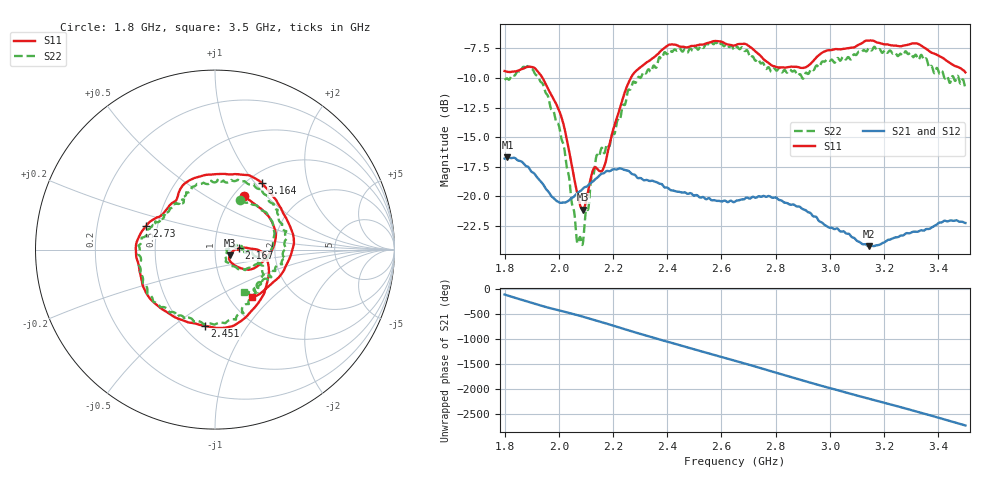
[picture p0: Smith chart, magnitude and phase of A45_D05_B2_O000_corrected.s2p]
! Created with skrf 1.9.0 (http://scikit-rf.org).
# Hz S RI R 50.0
!freq ReS11 ImS11 ReS21 ImS21 ReS12 ImS12 ReS22 ImS22
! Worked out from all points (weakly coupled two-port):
!   1601 points, 1.8 GHz to 3.5 GHz, reference 50 ohm
!   highest |S21| = -16.71 dB at 1.811 GHz (marker M1); lowest = -24.2 dB at 3.143 GHz (marker M2)
!   lowest |S11| = -21.1 dB at 2.089 GHz (marker M3), VSWR 1.19, Z = 58.8 - j3.84 ohm
!   |S11| at or under -10 dB: 1.941 GHz to 2.265 GHz (324.9 MHz wide, 15.4 % of centre)
!   |S22| runs from -24.1 to -6.9 dB; largest |S21 - S12| = 0.0024
!   S11 on the Smith chart (normalised r, x): 1.8 GHz: 1.12, +0.75; 2.167 GHz: 1.31, +0.02; 2.451 GHz: 0.63, -0.66; 2.73 GHz: 0.43, +0.14; 3.164 GHz: 1.17, +1.09; 3.5 GHz: 1.27, -0.75
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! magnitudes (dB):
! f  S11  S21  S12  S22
! 1.8 GHz  -9.4  -16.8  -16.8  -10.1
! 1.811 GHz  -9.5  -16.7  -16.7  -10.0
! 1.885 GHz  -9.1  -17.5  -17.5  -9.0
! 1.942 GHz  -10.1  -19.0  -19.0  -10.6
! 2.011 GHz  -13.4  -20.5  -20.5  -15.3
! 2.067 GHz  -19.6  -19.7  -19.7  -23.8
! 2.084 GHz  -21.0  -19.5  -19.4  -23.8
! 2.089 GHz  -21.1  -19.3  -19.4  -23.9
! 2.135 GHz  -17.5  -18.5  -18.5  -17.1
! 2.167 GHz  -17.5  -18.0  -18.0  -16.3
! 2.261 GHz  -10.2  -17.9  -17.9  -11.0
! 2.367 GHz  -7.9  -18.9  -18.8  -8.4
! 2.451 GHz  -7.4  -19.6  -19.6  -7.7
! 2.65 GHz  -7.2  -20.4  -20.4  -7.6
! 2.73 GHz  -7.8  -20.1  -20.1  -8.5
! 2.808 GHz  -9.1  -20.2  -20.2  -9.3
! 2.934 GHz  -8.7  -21.5  -21.5  -9.2
! 3.143 GHz  -6.8  -24.2  -24.1  -7.5
! 3.164 GHz  -6.9  -24.2  -24.1  -7.4
! 3.217 GHz  -7.2  -23.7  -23.6  -7.7
! 3.326 GHz  -7.1  -23.0  -22.9  -8.4
! 3.5 GHz  -9.5  -22.2  -22.2  -10.9
